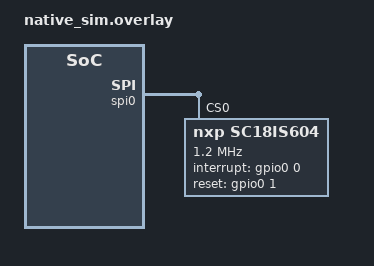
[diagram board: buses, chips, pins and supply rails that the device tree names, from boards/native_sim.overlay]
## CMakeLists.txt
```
# SPDX-FileCopyrightText: 2025-2026 TiaC Systems
# SPDX-License-Identifier: Apache-2.0

cmake_minimum_required(VERSION 3.28.0)
find_package(Zephyr REQUIRED HINTS $ENV{ZEPHYR_BASE})
project(test_sc18is604_gpio)

target_include_directories(app PRIVATE include)
target_sources(app
  PRIVATE
    src/main.c
)
```

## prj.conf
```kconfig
# SPDX-FileCopyrightText: 2024-2026 TiaC Systems
# SPDX-License-Identifier: Apache-2.0

# zephyr-keep-sorted-start
CONFIG_ZTEST=y
# zephyr-keep-sorted-stop
```

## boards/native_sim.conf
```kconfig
# SPDX-FileCopyrightText: 2024-2026 TiaC Systems
# SPDX-License-Identifier: Apache-2.0

# zephyr-keep-sorted-start
CONFIG_EMUL=y
CONFIG_GPIO=y
CONFIG_MFD=y
CONFIG_SPI=y
# zephyr-keep-sorted-stop
```

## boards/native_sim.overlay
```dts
/*
 * Copyright (c) 2025 TiaC Systems
 * SPDX-License-Identifier: Apache-2.0
 */

#include <freq.h>

&spi0 {
	status = "okay";
	sc18is604: sc18is604@0 {
		compatible = "nxp,sc18is604";
		status = "okay";
		spi-max-frequency = <DT_FREQ_K(1200)>;
		reg = <0>;

		interrupt-gpios = <&gpio0 0 0>;
		reset-gpios = <&gpio0 1 0>;

		sc18is604_gpio: sc18is604-gpio {
			compatible = "nxp,sc18is604-gpio";
			status = "okay";

			gpio-controller;
			#gpio-cells = <2>;

			ngpios = <5>;

			gpio-line-names = "IO0", "IO1", "IO2", "IO3", "IO4";
		};
	};
};

&gpio0 {
	status = "okay";
	ngpios = <8>;
	rising-edge;
	falling-edge;
	high-level;
	low-level;
};
```

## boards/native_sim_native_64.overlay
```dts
/*
 * SPDX-FileCopyrightText: 2025-2026 TiaC Systems
 * SPDX-License-Identifier: Apache-2.0
 */

#include "sc18is604-gpio.dtsi"
```

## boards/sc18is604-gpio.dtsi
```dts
/*
 * SPDX-FileCopyrightText: 2025-2026 TiaC Systems
 * SPDX-License-Identifier: Apache-2.0
 */

#include <freq.h>

&spi0 {
	status = "okay";
	sc18is604: sc18is604@0 {
		compatible = "nxp,sc18is604";
		status = "okay";
		spi-max-frequency = <DT_FREQ_K(1200)>;
		reg = <0>;

		interrupt-gpios = <&gpio0 0 0>;
		reset-gpios = <&gpio0 1 0>;

		sc18is604_gpio: sc18is604-gpio {
			compatible = "nxp,sc18is604-gpio";
			status = "okay";

			gpio-controller;
			#gpio-cells = <2>;

			ngpios = <5>;

			gpio-line-names = "IO0", "IO1", "IO2", "IO3", "IO4";
		};
	};
};

&gpio0 {
	status = "okay";
	ngpios = <8>;
	rising-edge;
	falling-edge;
	high-level;
	low-level;
};
```

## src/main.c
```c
/*
 * SPDX-FileCopyrightText: 2025-2026 TiaC Systems
 * SPDX-License-Identifier: Apache-2.0
 */

#include <zephyr/ztest.h>
#include <zephyr/drivers/gpio.h>
#include <zephyr/drivers/emul.h>
#include <zephyr/drivers/mfd/sc18is604_emul.h>

static const struct emul *get_sc18is604(void)
{
	const struct emul *sc18is604 = EMUL_DT_GET(DT_NODELABEL(sc18is604));

	zassert_true(device_is_ready(sc18is604->dev), "SC18IS604 device not ready");

	return sc18is604;
}

static const struct device *get_sc18is604_gpio(void)
{
	const struct device *sc18is604_gpio = DEVICE_DT_GET(DT_NODELABEL(sc18is604_gpio));

	zassert_true(device_is_ready(sc18is604_gpio), "SC18IS604 GPIO device not ready");

	return sc18is604_gpio;
}

ZTEST_SUITE(sc18is604_gpio_emul, NULL, NULL, NULL, NULL, NULL);

ZTEST(sc18is604_gpio_emul, test_pin_set)
{
	const struct device *gpio = get_sc18is604_gpio();
	const struct emul *mfd_emul = get_sc18is604();

	/* Check all (output capable) pins */
	for (int i = 0; i < 4; i++) {
		uint8_t value = 0;

		/* Configure the pin as output */
		zassert_ok(gpio_pin_configure(gpio, i, GPIO_OUTPUT), "Failed to configure pin %d",
			   i);

		/* Set the pin to active */
		zassert_ok(gpio_pin_set(gpio, i, 1), "Failed to set pin %d", i);
		zassert_ok(mfd_sc18is604_emul_gpio_get_output(mfd_emul, i, &value),
			   "Failed to get value of pin %d from emulator backend", i);
		zassert_equal(value, 1, "Pin %d value mismatch", i);

		/* Set the pin to inactive */
		zassert_ok(gpio_pin_set(gpio, i, 0), "Failed to clear pin %d", i);
		zassert_ok(mfd_sc18is604_emul_gpio_get_output(mfd_emul, i, &value),
			   "Failed to get value of pin %d from emulator backend", i);
		zassert_equal(value, 0, "Pin %d value mismatch", i);
	}
}

ZTEST(sc18is604_gpio_emul, test_pin_get)
{
	const struct device *gpio = get_sc18is604_gpio();
	const struct emul *mfd_emul = get_sc18is604();

	/* Check all pins */
	for (int i = 0; i < 5; i++) {
		/* Configure the pin as input */
		zassert_ok(gpio_pin_configure(gpio, i, GPIO_INPUT), "Failed to configure pin %d",
			   i);

		/* Set the pin value via emulator backend */
		zassert_ok(mfd_sc18is604_emul_gpio_set_input(mfd_emul, i, 1),
			   "Failed to set pin %d via emulator backend", i);
		/* Check the pin value reported by driver */
		zassert_equal(gpio_pin_get(gpio, i), 1, "Pin %d value mismatch", i);

		/* Clear the pin value via emulator backend */
		zassert_ok(mfd_sc18is604_emul_gpio_set_input(mfd_emul, i, 0),
			   "Failed to clear pin %d via emulator backend", i);
		/* Check the pin value reported by driver */
		zassert_equal(gpio_pin_get(gpio, i), 0, "Pin %d value mismatch", i);
	}
}

ZTEST(sc18is604_gpio_emul, test_port_get)
{
	const struct device *gpio = get_sc18is604_gpio();
	const struct emul *mfd_emul = get_sc18is604();

	/* Configure all pins as input */
	for (int i = 0; i < 5; i++) {
		zassert_ok(gpio_pin_configure(gpio, i, GPIO_INPUT));
	}

	/* Set an input pattern */
	zassert_ok(mfd_sc18is604_emul_gpio_set_input(mfd_emul, 0, 1),
		   "Failed to set pin 0 via emulator backend");
	zassert_ok(mfd_sc18is604_emul_gpio_set_input(mfd_emul, 1, 0),
		   "Failed to set pin 1 via emulator backend");
	zassert_ok(mfd_sc18is604_emul_gpio_set_input(mfd_emul, 2, 1),
		   "Failed to set pin 2 via emulator backend");
	zassert_ok(mfd_sc18is604_emul_gpio_set_input(mfd_emul, 3, 0),
		   "Failed to set pin 3 via emulator backend");
	zassert_ok(mfd_sc18is604_emul_gpio_set_input(mfd_emul, 4, 1),
		   "Failed to set pin 4 via emulator backend");

	/* Check the port */
	gpio_port_value_t port_value = 0;

	zassert_ok(gpio_port_get(gpio, &port_value), "Failed to get port value");
	zassert_equal(port_value, 0b10101, "Port value mismatch");
}

ZTEST(sc18is604_gpio_emul, test_port_set_masked)
{
	const struct device *gpio = get_sc18is604_gpio();
	const struct emul *mfd_emul = get_sc18is604();

	/* Configure all pins as output */
	for (int i = 0; i < 4; i++) {
		zassert_ok(gpio_pin_configure(gpio, i, GPIO_OUTPUT), "Failed to configure pin %d",
			   i);
	}

	/* Clear all pins */
	zassert_ok(gpio_port_clear_bits(gpio, 0b1111), "Failed to clear port");

	/* Confirm the port is cleared */
	uint8_t value = 0;

	for (int i = 0; i < 4; i++) {
		zassert_ok(mfd_sc18is604_emul_gpio_get_output(mfd_emul, i, &value),
			   "Failed to get value of pin %d from emulator backend", i);
		zassert_equal(value, 0, "Pin %d value mismatch", i);
	}

	/* Set an output pattern (partially masked) */
	zassert_ok(gpio_port_set_masked(gpio, 0b1110, 0b1011), "Failed to set port values");

	/* Confirm the port is set according to pattern and mask */
	zassert_ok(mfd_sc18is604_emul_gpio_get_output(mfd_emul, 0, &value),
		   "Failed to get value of pin 0 from emulator backend");
	zassert_equal(value, 0, "Pin 0 value mismatch");
	zassert_ok(mfd_sc18is604_emul_gpio_get_output(mfd_emul, 1, &value),
		   "Failed to get value of pin 1 from emulator backend");
	zassert_equal(value, 1, "Pin 1 value mismatch");
	zassert_ok(mfd_sc18is604_emul_gpio_get_output(mfd_emul, 2, &value),
		   "Failed to get value of pin 2 from emulator backend");
	zassert_equal(value, 0, "Pin 2 value mismatch");
	zassert_ok(mfd_sc18is604_emul_gpio_get_output(mfd_emul, 3, &value),
		   "Failed to get value of pin 3 from emulator backend");
	zassert_equal(value, 1, "Pin 3 value mismatch");
}
```
